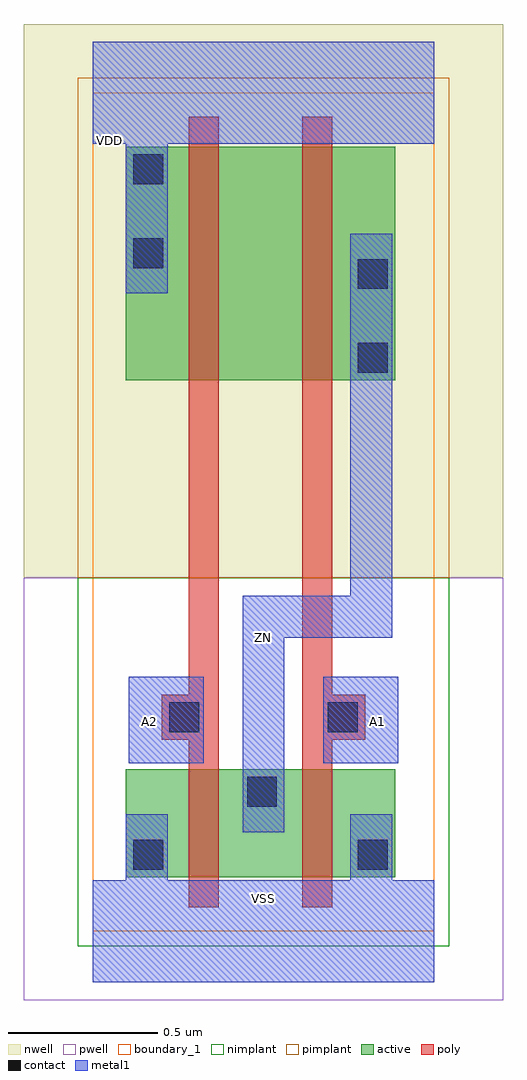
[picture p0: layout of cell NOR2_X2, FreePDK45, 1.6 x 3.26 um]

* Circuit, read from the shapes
.subckt NOR2_X2 A1 A2 VDD VSS ZN
M1 ZN A2 VSS VSUBS nfet w=0.36u l=0.1u
M2 VSS A1 ZN VSUBS nfet w=0.36u l=0.1u
M3 n1 A2 VDD n2 pfet w=0.78u l=0.1u
M4 ZN A1 n1 n2 pfet w=0.78u l=0.1u
.ends

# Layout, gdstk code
import gdstk
lib = gdstk.Library(unit=1e-6, precision=1e-09)
def R(c, l, rs):  # rectangles x0, y0, x1, y1
    for r in rs: c.add(gdstk.rectangle(r[:2], r[2:], *l))
def P(c, l, *ps):  # polygons
    for p in ps: c.add(gdstk.Polygon(p, *l))
active = (1, 0)
pwell = (2, 0)
nwell = (3, 0)
nimplant = (4, 0)
pimplant = (5, 0)
poly = (9, 0)
contact = (10, 0)
metal1 = (11, 0)
boundary_1 = (235, 1)

nor2_x2 = lib.new_cell('NOR2_X2')
R(nor2_x2, active, [(0.11,0.18,1.01,0.54), (0.11,1.84,1.01,2.62)])
R(nor2_x2, pwell, [(-0.23,-0.23,1.37,1.18)])
R(nor2_x2, nwell, [(-0.23,1.18,1.37,3.03)])
R(nor2_x2, nimplant, [(-0.05,-0.05,1.19,1.18)])
R(nor2_x2, pimplant, [(-0.05,1.18,1.19,2.85)])
P(nor2_x2, poly, [(0.7,0.08),(0.8,0.08),(0.8,0.64),(0.91,0.64),(0.91,0.79),(0.8,0.79),(0.8,2.72),(0.7,2.72)],
  [(0.23,0.64),(0.32,0.64),(0.32,0.08),(0.42,0.08),(0.42,2.72),(0.32,2.72),(0.32,0.79),(0.23,0.79)])
R(nor2_x2, contact, [(0.135,0.205,0.235,0.305), (0.885,0.205,0.985,0.305), (0.515,0.415,0.615,0.515), (0.255,0.665,0.355,0.765), (0.785,0.665,0.885,0.765), (0.885,1.865,0.985,1.965), (0.885,2.145,0.985,2.245), (0.135,2.215,0.235,2.315), (0.135,2.495,0.235,2.595)])
R(nor2_x2, metal1, [(0.12,0.56,0.37,0.85), (0.12,0.56,0.37,0.85), (0.77,0.56,1.02,0.85), (0.77,0.56,1.02,0.85)])
P(nor2_x2, metal1, [(0.5,0.33),(0.64,0.33),(0.64,0.98),(1,0.98),(1,2.33),(0.86,2.33),(0.86,1.12),(0.5,1.12)],
  [(0,-0.17),(1.14,-0.17),(1.14,0.17),(1,0.17),(1,0.39),(0.86,0.39),(0.86,0.17),(0.25,0.17),(0.25,0.39),(0.11,0.39),(0.11,0.17),(0,0.17)],
  [(0,2.63),(0.11,2.63),(0.11,2.13),(0.25,2.13),(0.25,2.63),(1.14,2.63),(1.14,2.97),(0,2.97)],
  [(0,2.63),(0.11,2.63),(0.11,2.13),(0.25,2.13),(0.25,2.63),(1.14,2.63),(1.14,2.97),(0,2.97)],
  [(0,-0.17),(1.14,-0.17),(1.14,0.17),(1,0.17),(1,0.39),(0.86,0.39),(0.86,0.17),(0.25,0.17),(0.25,0.39),(0.11,0.39),(0.11,0.17),(0,0.17)],
  [(0.5,0.33),(0.64,0.33),(0.64,0.98),(1,0.98),(1,2.33),(0.86,2.33),(0.86,1.12),(0.5,1.12)])
R(nor2_x2, boundary_1, [(0,0,1.14,2.8)])
nor2_x2.add(gdstk.Label('ZN', (0.57,0.98), layer=11, texttype=0))
nor2_x2.add(gdstk.Label('VSS', (0.57,0.11), layer=11, texttype=0))
nor2_x2.add(gdstk.Label('VDD', (0.055,2.64), layer=11, texttype=0))
nor2_x2.add(gdstk.Label('A2', (0.19,0.7), layer=11, texttype=0))
nor2_x2.add(gdstk.Label('A1', (0.95,0.7), layer=11, texttype=0))

lib.write_gds('NOR2_X2.gds')
